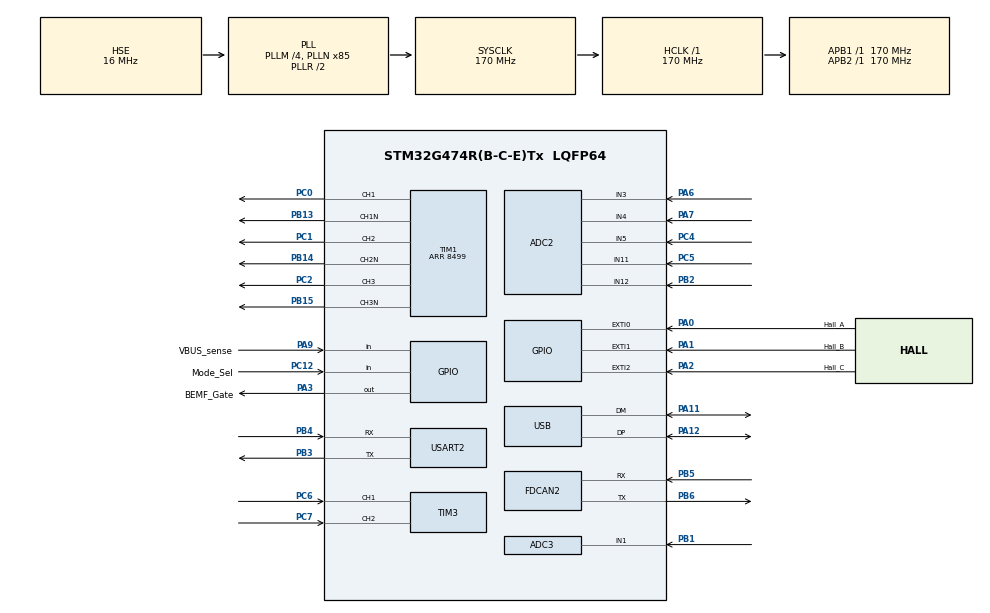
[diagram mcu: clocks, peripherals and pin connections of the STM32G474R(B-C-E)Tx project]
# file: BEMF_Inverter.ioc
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ADC2.Channel-0\#ChannelRegularConversion=ADC_CHANNEL_3
ADC2.Channel-1\#ChannelRegularConversion=ADC_CHANNEL_4
ADC2.Channel-2\#ChannelRegularConversion=ADC_CHANNEL_5
ADC2.Channel-3\#ChannelRegularConversion=ADC_CHANNEL_11
ADC2.DMAContinuousRequests=ENABLE
ADC2.EnableAnalogWatchDog1=false
ADC2.ExternalTrigConv=ADC_EXTERNALTRIG_T6_TRGO
ADC2.NbrOfConversion=4
ADC2.NbrOfConversionFlag=1
ADC2.OffsetNumber-0\#ChannelRegularConversion=ADC_OFFSET_NONE
ADC2.OffsetNumber-1\#ChannelRegularConversion=ADC_OFFSET_NONE
ADC2.OffsetNumber-2\#ChannelRegularConversion=ADC_OFFSET_NONE
ADC2.OffsetNumber-3\#ChannelRegularConversion=ADC_OFFSET_NONE
ADC2.OversamplingMode=ENABLE
ADC2.Rank-0\#ChannelRegularConversion=1
ADC2.Rank-1\#ChannelRegularConversion=2
ADC2.Rank-2\#ChannelRegularConversion=3
ADC2.Rank-3\#ChannelRegularConversion=4
ADC2.Ratio=ADC_OVERSAMPLING_RATIO_4
ADC2.RightBitShift=ADC_RIGHTBITSHIFT_2
ADC2.SamplingTime-0\#ChannelRegularConversion=ADC_SAMPLETIME_2CYCLES_5
ADC2.SamplingTime-1\#ChannelRegularConversion=ADC_SAMPLETIME_2CYCLES_5
ADC2.SamplingTime-2\#ChannelRegularConversion=ADC_SAMPLETIME_2CYCLES_5
ADC2.SamplingTime-3\#ChannelRegularConversion=ADC_SAMPLETIME_2CYCLES_5
ADC2.SingleDiff-3\#ChannelRegularConversion=ADC_DIFFERENTIAL_ENDED
ADC3.Channel-3\#ChannelRegularConversion=ADC_CHANNEL_1
ADC3.NbrOfConversionFlag=1
ADC3.OffsetNumber-3\#ChannelRegularConversion=ADC_OFFSET_NONE
ADC3.Rank-3\#ChannelRegularConversion=1
ADC3.SamplingTime-3\#ChannelRegularConversion=ADC_SAMPLETIME_2CYCLES_5
ADC3.master=1
Dma.ADC2.0.Direction=DMA_PERIPH_TO_MEMORY
Dma.ADC2.0.EventEnable=DISABLE
Dma.ADC2.0.Instance=DMA1_Channel1
Dma.ADC2.0.MemDataAlignment=DMA_MDATAALIGN_HALFWORD
Dma.ADC2.0.MemInc=DMA_MINC_ENABLE
Dma.ADC2.0.Mode=DMA_CIRCULAR
Dma.ADC2.0.PeriphDataAlignment=DMA_PDATAALIGN_HALFWORD
Dma.ADC2.0.PeriphInc=DMA_PINC_DISABLE
Dma.ADC2.0.Polarity=HAL_DMAMUX_REQ_GEN_RISING
Dma.ADC2.0.Priority=DMA_PRIORITY_LOW
Dma.ADC2.0.RequestNumber=1
Dma.ADC2.0.SignalID=NONE
Dma.ADC2.0.SyncEnable=DISABLE
Dma.ADC2.0.SyncPolarity=HAL_DMAMUX_SYNC_NO_EVENT
Dma.ADC2.0.SyncRequestNumber=1
Dma.ADC2.0.SyncSignalID=NONE
Dma.Request0=ADC2
FDCAN2.CalculateBaudRateNominal=3541666
FDCAN2.CalculateTimeBitNominal=282
FDCAN2.CalculateTimeQuantumNominal=94.11764705882354
Mcu.Family=STM32G4
Mcu.Name=STM32G474R(B-C-E)Tx
Mcu.Package=LQFP64
NVIC.DMA1_Channel1_IRQn=true\:0\:0\:false\:false\:true\:false\:true\:true
NVIC.EXTI0_IRQn=true\:0\:0\:false\:false\:true\:true\:true\:true
NVIC.EXTI1_IRQn=true\:0\:0\:false\:false\:true\:true\:true\:true
NVIC.EXTI2_IRQn=true\:0\:0\:false\:false\:true\:true\:true\:true
NVIC.PriorityGroup=NVIC_PRIORITYGROUP_4
NVIC.TIM6_DAC_IRQn=true\:0\:0\:false\:false\:true\:true\:true\:true
NVIC.USB_HP_IRQn=true\:0\:0\:false\:false\:true\:true\:true\:true
NVIC.USB_LP_IRQn=true\:0\:0\:false\:false\:true\:false\:true\:true
PA0.GPIO_Label=Hall_A
PA0.GPIO_ModeDefaultEXTI=GPIO_MODE_IT_RISING_FALLING
PA0.GPIO_PuPd=GPIO_PULLUP
PA0.Signal=GPXTI0
PA1.GPIO_Label=Hall_B
PA1.GPIO_ModeDefaultEXTI=GPIO_MODE_IT_RISING_FALLING
PA1.GPIO_PuPd=GPIO_PULLUP
PA1.Signal=GPXTI1
PA11.Mode=Device
PA11.Signal=USB_DM
PA12.Mode=Device
PA12.Signal=USB_DP
PA13.Mode=Serial_Wire
PA13.Signal=SYS_JTMS-SWDIO
PA14.Mode=Serial_Wire
PA14.Signal=SYS_JTCK-SWCLK
PA2.GPIO_Label=Hall_C
PA2.GPIO_ModeDefaultEXTI=GPIO_MODE_IT_RISING_FALLING
PA2.GPIO_PuPd=GPIO_PULLUP
PA2.Signal=GPXTI2
PA3.GPIO_Label=BEMF_Gate
PA3.GPIO_PuPd=GPIO_PULLDOWN
PA3.Signal=GPIO_Output
PA6.Mode=IN3-Single-Ended
PA6.Signal=ADC2_IN3
PA7.Mode=IN4-Single-Ended
PA7.Signal=ADC2_IN4
PA9.GPIO_Label=VBUS_sense
PA9.Signal=GPIO_Input
PB1.Mode=IN1-Single-Ended
PB1.Signal=ADC3_IN1
PB13.Mode=PWM Generation1 CH1 CH1N
PB13.Signal=TIM1_CH1N
PB14.Mode=PWM Generation2 CH2 CH2N
PB14.Signal=TIM1_CH2N
PB15.Mode=PWM Generation3 CH3 CH3N
PB15.Signal=TIM1_CH3N
PB2.Mode=IN11-Differential
PB2.Signal=ADC2_IN12
PB3.Mode=Asynchronous
PB3.Signal=USART2_TX
PB4.Mode=Asynchronous
PB4.Signal=USART2_RX
PB5.Mode=FDCAN_Activate
PB5.Signal=FDCAN2_RX
PB6.Mode=FDCAN_Activate
PB6.Signal=FDCAN2_TX
PC0.Signal=S_TIM1_CH1
PC1.Signal=S_TIM1_CH2
PC12.GPIO_Label=Mode_Sel
PC12.GPIO_PuPd=GPIO_PULLDOWN
PC12.Signal=GPIO_Input
PC2.Signal=S_TIM1_CH3
PC4.Mode=IN5-Single-Ended
PC4.Signal=ADC2_IN5
PC5.Mode=IN11-Differential
PC5.Signal=ADC2_IN11
PC6.Signal=S_TIM3_CH1
PC7.Signal=S_TIM3_CH2
PF0-OSC_IN.Mode=HSE-External-Oscillator
PF0-OSC_IN.Signal=RCC_OSC_IN
PF1-OSC_OUT.Mode=HSE-External-Oscillator
PF1-OSC_OUT.Signal=RCC_OSC_OUT
ProjectManager.HeapSize=0x200
ProjectManager.StackSize=0x400
ProjectManager.TargetToolchain=STM32CubeIDE
RCC.ADC12Freq_Value=170000000
RCC.ADC345Freq_Value=170000000
RCC.AHBFreq_Value=170000000
RCC.APB1Freq_Value=170000000
RCC.APB1TimFreq_Value=170000000
RCC.APB2Freq_Value=170000000
RCC.APB2TimFreq_Value=170000000
RCC.CK48CLockSelection=RCC_USBCLKSOURCE_HSI48
RCC.CortexFreq_Value=170000000
RCC.EXTERNAL_CLOCK_VALUE=12288000
RCC.EnbaleCSS=true
RCC.HCLKFreq_Value=170000000
RCC.HSE_VALUE=16000000
RCC.HSI48_VALUE=48000000
RCC.HSI_VALUE=16000000
RCC.LSE_VALUE=32768
RCC.PLLM=RCC_PLLM_DIV4
RCC.PLLN=85
RCC.PLLQ=RCC_PLLQ_DIV8
RCC.PLLSourceVirtual=RCC_PLLSOURCE_HSE
RCC.SYSCLKFreq_VALUE=170000000
RCC.SYSCLKSource=RCC_SYSCLKSOURCE_PLLCLK
RCC.USBFreq_Value=48000000
RCC.VCOOutputFreq_Value=340000000
SH.S_TIM1_CH1.0=TIM1_CH1,PWM Generation1 CH1 CH1N
SH.S_TIM1_CH2.0=TIM1_CH2,PWM Generation2 CH2 CH2N
SH.S_TIM1_CH3.0=TIM1_CH3,PWM Generation3 CH3 CH3N
SH.S_TIM3_CH1.0=TIM3_CH1,Encoder_Interface
SH.S_TIM3_CH2.0=TIM3_CH2,Encoder_Interface
TIM1.Channel-PWM\ Generation1\ CH1\ CH1N=TIM_CHANNEL_1
TIM1.Channel-PWM\ Generation2\ CH2\ CH2N=TIM_CHANNEL_2
TIM1.Channel-PWM\ Generation3\ CH3\ CH3N=TIM_CHANNEL_3
TIM1.DeadTime=150
TIM1.PeriodNoDither=8499
TIM6.PeriodNoDither=1699
TIM6.TIM_MasterOutputTrigger=TIM_TRGO_UPDATE
USART2.VirtualMode-Asynchronous=VM_ASYNC
USB_DEVICE.APP_RX_DATA_SIZE=128
USB_DEVICE.APP_TX_DATA_SIZE=128
USB_DEVICE.CLASS_NAME_FS=CDC
USB_DEVICE.VirtualMode=Cdc
USB_DEVICE.VirtualModeFS=Cdc_FS
VP_SYS_VS_DBSignals.Mode=DisableDeadBatterySignals
VP_TIM6_VS_ClockSourceINT.Mode=Enable_Timer
VP_USB_DEVICE_VS_USB_DEVICE_CDC_FS.Mode=CDC_FS
board=custom

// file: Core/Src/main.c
/* USER CODE BEGIN Header */
/**
  ******************************************************************************
  * @file           : main.c
  * @brief          : Main program body
  ******************************************************************************
  * @attention
  *
  * Copyright (c) 2025 STMicroelectronics.
  * All rights reserved.
  *
  * This software is licensed under terms that can be found in the LICENSE file
  * in the root directory of this software component.
  * If no LICENSE file comes with this software, it is provided AS-IS.
  *
  ******************************************************************************
  */
/* USER CODE END Header */
#include "main.h"
#include "usb_device.h"

/* USER CODE BEGIN Includes */
#include <string.h>
#include "usbd_cdc_if.h"
#include <math.h>
/* USER CODE END Includes */

/* USER CODE BEGIN PTD */
typedef enum {
    MODE_6STEP = 0,
    MODE_FOC
} OperationMode;

typedef enum {
    STEP_INIT = 0,
    STEP_SET_0POS,
    STEP_CURRENT_CONTROL,
    STEP_VELOCITY_CONTROL,
    STEP_POSITION_CONTROL,
    FOC_INIT,
    FOC_CURRENT_CONTROL,
    FOC_VELOCITY_CONTROL,
} ControlMode;

// 명령어 처리 함수 타입
typedef void (*CommandHandler)(char* args);

// 명령어 구조체
typedef struct {
    const char* command;
    CommandHandler handler;
} CommandEntry;
/* USER CODE END PTD */

ADC_HandleTypeDef hadc2;
ADC_HandleTypeDef hadc3;
DMA_HandleTypeDef hdma_adc2;

FDCAN_HandleTypeDef hfdcan2;

TIM_HandleTypeDef htim1;
TIM_HandleTypeDef htim3;
TIM_HandleTypeDef htim6;

UART_HandleTypeDef huart2;

/* USER CODE BEGIN PV */
// 현재 운영 모드
volatile OperationMode currentMode = MODE_6STEP;
volatile ControlMode controlState = STEP_INIT;

// 6-step에서 0 위치 잡을 때 넣을 PWM duty
volatile double zeroPosDutyCycle = 0.03;

// 6-step에서 0 위치 잡을 때 걸리는 한 틱(ms)
volatile uint32_t zeroPosTick = 100;

// 6-step에서 0 위치 잡을 때 쓰는 타이머
volatile uint32_t zeroPosTimer = 0;

// 플래그
volatile uint8_t zeroPosFlag = 0;

// 목표 듀티 사이클
volatile double targetDutyCycle = 0.0;

// 듀티 만들 때 필요한 ARR
uint32_t timerARR = 0;

// 홀센서 상태
volatile uint8_t hallbit = 0;

// 홀비트에 따른 섹터 인덱스
const uint8_t hallToSector[8] = {
    0xFF, // 000 - 무효
    4,    // 001
    2,    // 010
    3,    // 011
    0,    // 100
    5,    // 101
    1,    // 110
    0xFF  // 111 - 무효
};

// 6-step에서 섹터에 따른 인버터 위상 매핑 테이블
const uint8_t cwLUT[8] = {
    0b100,
    0b110,
    0b010,
    0b011,
    0b001,
    0b101,
    0,
    0
};

const uint8_t ccwLUT[8] = {
    0b001,
    0b101,
    0b100,
    0b110,
    0b010,
    0b011,
    0,
    0
};

// 위치
volatile uint8_t position = 0;
volatile uint8_t prevPosition = 0;

volatile int8_t rotationDirection = 0; // 1 = CW, -1 = CCW, 0 = 정지/무효

// 속도제어
volatile uint32_t lastPositionUpdateTime = 0;
volatile double speedRPM = 0.0;

volatile uint32_t rpmTimeout = 100; // ms

volatile double desiredSpeedRPM = 0.0;

volatile double kp_speed = 0.001;
volatile double ki_speed = 0.0001;

double speedIntegral = 0.0;
volatile uint32_t lastIntegralUpdateTime = 0;
uint16_t integraldt = 10; // ms

double integralLimit = 100.0;

// 위치제어
volatile int32_t desiredStep = 0;
volatile uint8_t lastStepPosition = 0;

// 방향 설정
volatile uint8_t isCCW = 0;

// 센서
uint16_t adc2Buffer[8]; // ADC2용 버퍼 (A,B,C상 전류 + Vdc)

// USB 통신
extern uint8_t UserRxBufferFS[APP_RX_DATA_SIZE];
uint8_t usbRx[APP_RX_DATA_SIZE] = {0};
uint8_t receiveFlag = 0;

// 디버그용
volatile uint32_t debugVar1 = 0;
/* USER CODE END PV */

void SystemClock_Config(void);
static void MX_GPIO_Init(void);
static void MX_DMA_Init(void);
static void MX_FDCAN2_Init(void);
static void MX_ADC2_Init(void);
static void MX_TIM1_Init(void);
static void MX_TIM3_Init(void);
static void MX_USART2_UART_Init(void);
static void MX_ADC3_Init(void);
static void MX_TIM6_Init(void);
/* USER CODE BEGIN PFP */
// USB 명령어 처리 함수
void ProcessUSBCommand(void);
void ParseCommand(char* cmdStr);

// 개별 명령어 핸들러
void CMD_SetMode(char* args);
void CMD_SetDuty(char* args);
void CMD_SetSpeed(char* args);
void CMD_SetDirection(char* args);
void CMD_SetZeroPos(char* args);
void CMD_SetParam(char* args);
void CMD_GetVI(char* args);
/* USER CODE END PFP */

/* USER CODE BEGIN 0 */
// adc값->mV
static inline int32_t Code_to_VmV(uint16_t code) {
    float v_bus = ((float) code - 2048.0) * 3.3f * 40.0f / 2047.0f;
    int32_t mV = (int32_t)(v_bus * 1000.0f + 0.5f);
    if (mV < 0) mV = 0;
    return mV;
}

// adc값->mA
static inline int32_t Code_to_ImA(uint16_t code) {
    float i = (float) code * 3.3f / 4095.0f;
    float I = (i - 1.65f) / 0.066f;
    return (int32_t) (I * 1000.0f);
}

int8_t USB_Log(const char* msg) {
    uint16_t len = strlen(msg);
    if (len > 0) {
        uint8_t result;
        uint8_t retries = 0;

        // Retry logic for USBD_BUSY
        do {
            result = CDC_Transmit_FS((uint8_t*)msg, len);
            if (result == USBD_OK) {
                return 0; // Success
            } else if (result == USBD_BUSY) {
                retries++;
            } else {
                return -1; // Other error
            }
        } while (result == USBD_BUSY && retries < 100);

        return -1; // Failed after retries
    }
    return -2; // Invalid length
}

int8_t USB_LogLn(const char* msg) {
    int8_t res = USB_Log(msg);
    if (res == 0) {
//        HAL_Delay(10); // Small delay between transmissions
        return USB_Log("\r\n");
    }
    return res;
}

void USB_ArrayCopy() {
    strcpy((char*) usbRx, (char*) UserRxBufferFS);
    memset(UserRxBufferFS, 0, APP_TX_DATA_SIZE);
    receiveFlag = 1;
}

// ===== USB 명령어 처리 시스템 =====

// 명령어 테이블 (확장 시 여기에 추가)
const CommandEntry commandTable[] = {
    {"setmode", CMD_SetMode},
    {"setduty", CMD_SetDuty},
    {"setspeed", CMD_SetSpeed},
    {"setdir", CMD_SetDirection},
    {"setzero", CMD_SetZeroPos},
    {"setparam", CMD_SetParam},
    {"getvi", CMD_GetVI},
};

const uint32_t commandTableSize = sizeof(commandTable) / sizeof(CommandEntry);

// 명령어 파싱 함수
void ParseCommand(char* cmdStr) {
    // 공백/개행 제거
    char* end = cmdStr + strlen(cmdStr) - 1;
    while(end > cmdStr && (*end == ' ' || *end == '\r' || *end == '\n' || *end == '\t')) {
        *end = '\0';
        end--;
    }

    // 첫 번째 띄어쓰기 찾기 (명령어와 인자 구분)
    char* spacePos = strchr(cmdStr, ' ');
    char* args = NULL;

    if (spacePos != NULL) {
        *spacePos = '\0';  // 명령어 문자열 종료
        args = spacePos + 1;  // 인자 시작 위치

        // 인자 앞쪽 공백 제거
        while (*args == ' ' || *args == '\t') {
            args++;
        }
    }

    // 명령어 테이블에서 검색
    for (uint32_t i = 0; i < commandTableSize; i++) {
        if (strcmp(cmdStr, commandTable[i].command) == 0) {
            commandTable[i].handler(args);
            return;
        }
    }

    // 명령어를 찾지 못한 경우
    USB_Log("Unknown command: ");
    USB_LogLn(cmdStr);
}

// USB 명령어 처리 메인 함수
void ProcessUSBCommand(void) {
    ParseCommand((char*)usbRx);
    memset(usbRx, 0, APP_RX_DATA_SIZE);
    receiveFlag = 0;
}

// ===== 명령어 핸들러 구현 =====

void CMD_SetMode(char* args) {
    if (args == NULL) {
        USB_LogLn("Error: setmode requires argument");
        return;
    }

    if (strcmp(args, "current") == 0) {
        controlState = STEP_CURRENT_CONTROL;
        USB_LogLn("Mode set to CURRENT_CONTROL");
    }
    else if (strcmp(args, "velocity") == 0) {
        controlState = STEP_VELOCITY_CONTROL;
        speedIntegral = 0.0;  // 적분 리셋
        desiredSpeedRPM = 0.0;
        USB_LogLn("Mode set to VELOCITY_CONTROL");
    }
    else if (strcmp(args, "position") == 0) {
        controlState = STEP_POSITION_CONTROL;
        USB_LogLn("Mode set to POSITION_CONTROL");
    }
    else if (strcmp(args, "init") == 0) {
        controlState = STEP_INIT;
        targetDutyCycle = 0.0;
        USB_LogLn("Mode set to INIT");
    }
    else {
        USB_Log("Error: Unknown mode '");
        USB_Log(args);
        USB_LogLn("'");
    }
}

void CMD_SetDuty(char* args) {
    if (args == NULL) {
        USB_LogLn("Error: setduty requires argument");
        return;
    }

    double duty = atof(args);

    if (duty >= 0.0 && duty <= 1.0) {
        targetDutyCycle = duty;
        char msg[64];
        snprintf(msg, sizeof(msg), "Duty cycle set to %.3f", duty);
        USB_LogLn(msg);
    }
    else {
        USB_LogLn("Error: Duty must be between 0.0 and 1.0");
    }
}

void CMD_SetSpeed(char* args) {
    if (args == NULL) {
        USB_LogLn("Error: setspeed requires argument");
        return;
    }

    double speed = atof(args);
    desiredSpeedRPM = speed;

    char msg[64];
    snprintf(msg, sizeof(msg), "Target speed set to %.1f RPM", speed);
    USB_LogLn(msg);
}

void CMD_SetDirection(char* args) {
    if (args == NULL) {
        USB_LogLn("Error: setdir requires argument");
        return;
    }

    if (strcmp(args, "cw") == 0) {
        isCCW = 0;
        USB_LogLn("Direction set to CW");
    }
    else if (strcmp(args, "ccw") == 0) {
        isCCW = 1;
        USB_LogLn("Direction set to CCW");
    }
    else {
        USB_LogLn("Error: Direction must be cw or ccw");
    }
}

void CMD_SetZeroPos(char* args) {
    zeroPosFlag = 1;
    USB_LogLn("Zero position routine triggered");
}

void CMD_SetParam(char* args) {
    if (args == NULL) {
        USB_LogLn("Error: setparam requires parameter name and value");
        return;
    }

    // 첫 번째 공백으로 파라미터 이름과 값 분리
    char* spacePos = strchr(args, ' ');
    if (spacePos == NULL) {
        USB_LogLn("Error: setparam requires parameter name and value");
        return;
    }

    *spacePos = '\0';  // 파라미터 이름 문자열 종료
    char* paramName = args;
    char* paramValue = spacePos + 1;

    // 값 앞의 공백 제거
    while (*paramValue == ' ' || *paramValue == '\t') {
        paramValue++;
    }

    // 파라미터 이름에 따라 처리
    if (strcmp(paramName, "duty") == 0) {
        double duty = atof(paramValue);
        if (duty >= 0.0 && duty <= 1.0) {
            targetDutyCycle = duty;
            char msg[64];
            snprintf(msg, sizeof(msg), "duty set to %.3f", duty);
            USB_LogLn(msg);
        } else {
            USB_LogLn("Error: duty must be between 0.0 and 1.0");
        }
    }
    else if (strcmp(paramName, "speed") == 0) {
        double speed = atof(paramValue);
        desiredSpeedRPM = speed;
        char msg[64];
        snprintf(msg, sizeof(msg), "speed set to %.1f RPM", speed);
        USB_LogLn(msg);
    }
    else if (strcmp(paramName, "kp_speed") == 0) {
        kp_speed = atof(paramValue);
        char msg[64];
        snprintf(msg, sizeof(msg), "kp_speed set to %.6f", kp_speed);
        USB_LogLn(msg);
    }
    else if (strcmp(paramName, "ki_speed") == 0) {
        ki_speed = atof(paramValue);
        char msg[64];
        snprintf(msg, sizeof(msg), "ki_speed set to %.6f", ki_speed);
        USB_LogLn(msg);
    }
    else if (strcmp(paramName, "zeroduty") == 0) {
        zeroPosDutyCycle = atof(paramValue);
        char msg[64];
        snprintf(msg, sizeof(msg), "zeroduty set to %.3f", zeroPosDutyCycle);
        USB_LogLn(msg);
    }
    else if (strcmp(paramName, "zerotick") == 0) {
        zeroPosTick = (uint32_t)atoi(paramValue);
        char msg[64];
        snprintf(msg, sizeof(msg), "zerotick set to %lu ms", (unsigned long)zeroPosTick);
        USB_LogLn(msg);
    }
    else {
        USB_Log("Error: Unknown parameter '");
        USB_Log(paramName);
        USB_LogLn("'");
    }
}

void CMD_GetVI(char* args) {
    // 전압과 전류 읽기
    int16_t ia_code = (int16_t)adc2Buffer[0]; // A상 전류
    int16_t ib_code = (int16_t)adc2Buffer[1]; // B상 전류
    int16_t ic_code = (int16_t)adc2Buffer[2]; // C상 전류
    uint16_t vdc_code = adc2Buffer[3]; // Vdc

    if ((args == NULL) || (strcmp(args, "refined") == 0)) {
        // 물리량 환산
        int32_t ia_mA = Code_to_ImA(ia_code);
        int32_t ib_mA = Code_to_ImA(ib_code);
        int32_t ic_mA = Code_to_ImA(ic_code);
        int32_t vdc_mV = Code_to_VmV(vdc_code);

        char msg[128];
        snprintf(msg, sizeof(msg), "Ia:%ld/Ib:%ld/Ic:%ld/Vdc:%ld",
                 (long)ia_mA, (long)ib_mA, (long)ic_mA, (long)vdc_mV);
        USB_LogLn(msg);
        return;
    }

    if (strcmp(args, "raw") == 0) {
        char msg[128];
        snprintf(msg, sizeof(msg), "Ia:%d/Ib:%d/Ic:%d/Vdc:%d", ia_code, ib_code, ic_code, vdc_code);
        USB_LogLn(msg);
    }
}

/* USER CODE END 0 */

int main(void)
{

  /* MCU Configuration--------------------------------------------------------*/

  /* Reset of all peripherals, Initializes the Flash interface and the Systick. */
  HAL_Init();

  /* Configure the system clock */
  SystemClock_Config();

  /* Initialize all configured peripherals */
  MX_GPIO_Init();
  MX_DMA_Init();
  MX_FDCAN2_Init();
  MX_ADC2_Init();
  MX_TIM1_Init();
  MX_TIM3_Init();
  MX_USART2_UART_Init();
  MX_ADC3_Init();
  MX_TIM6_Init();
  MX_USB_Device_Init();
  /* USER CODE BEGIN 2 */
  // ARR 값 불러오기
  timerARR = htim1.Init.Period;

  // PWM 시작
  HAL_TIM_PWM_Start(&htim1, TIM_CHANNEL_1);
  HAL_TIM_PWM_Start(&htim1, TIM_CHANNEL_2);
  HAL_TIM_PWM_Start(&htim1, TIM_CHANNEL_3);
  HAL_TIMEx_PWMN_Start(&htim1, TIM_CHANNEL_1);
  HAL_TIMEx_PWMN_Start(&htim1, TIM_CHANNEL_2);
  HAL_TIMEx_PWMN_Start(&htim1, TIM_CHANNEL_3);

  // ADC2 DMA 시작
  HAL_TIM_Base_Start(&htim6);
  HAL_ADC_Start_DMA(&hadc2, (uint32_t*)adc2Buffer, 8);

  // 운영 모드 선택
  // Mode_Sel 핀이 HIGH이면 FOC 모드
  if (HAL_GPIO_ReadPin(Mode_Sel_GPIO_Port, Mode_Sel_Pin) == GPIO_PIN_SET) {
      currentMode = MODE_FOC;
      controlState = FOC_INIT;
      USB_LogLn("Operating Mode: FOC");
  }

  // 그렇지 않으면 6-STEP 모드
  else {

      currentMode = MODE_6STEP;
      controlState = STEP_INIT;
      USB_LogLn("Operating Mode: 6-STEP");
  }
  /* USER CODE END 2 */

  /* Infinite loop */
  /* USER CODE BEGIN WHILE */
  while (1)
  {
      // USB 명령 처리
      if (receiveFlag) {
          ProcessUSBCommand();
      }

      // 속도 타임아웃 체크 (인터럽트가 일정 시간 없으면 속도 0으로)
      uint32_t currentTime = HAL_GetTick();
      if (currentTime - lastPositionUpdateTime > rpmTimeout) {
          speedRPM = 0.0;
      }

      if (zeroPosFlag) {
          controlState = STEP_SET_0POS;
          zeroPosTimer = HAL_GetTick();
          zeroPosFlag = 0;
          targetDutyCycle = 0.0;
      }
      // 6-STEP motor control logic
      if (currentMode == MODE_6STEP) {
          if (controlState == STEP_INIT) {
              __HAL_TIM_SET_COMPARE(&htim1, TIM_CHANNEL_1, 0);
              __HAL_TIM_SET_COMPARE(&htim1, TIM_CHANNEL_2, 0);
              __HAL_TIM_SET_COMPARE(&htim1, TIM_CHANNEL_3, 0);
          }

          else if (controlState == STEP_SET_0POS) {
              uint8_t currentProgress = (HAL_GetTick() - zeroPosTimer) / zeroPosTick;
              if (currentProgress <= 5) {
                  // 홀비트로 위상 매핑
                  uint8_t phase = cwLUT[currentProgress];
                  // 듀티 사이클 설정
                  uint32_t dutyCycle = (uint32_t)(zeroPosDutyCycle * timerARR);
                  // PWM 출력 설정
                  __HAL_TIM_SET_COMPARE(&htim1, TIM_CHANNEL_1, (phase & 0b100) ? dutyCycle : 0);
                  __HAL_TIM_SET_COMPARE(&htim1, TIM_CHANNEL_2, (phase & 0b010) ? dutyCycle : 0);
                  __HAL_TIM_SET_COMPARE(&htim1, TIM_CHANNEL_3, (phase & 0b001) ? dutyCycle : 0);
              }

              else {
                  USB_LogLn("Zero position routine done");
                  USB_LogLn("Mode set to INIT");
                  controlState = STEP_INIT;
              }
          }

          else if (controlState == STEP_CURRENT_CONTROL) {
              // 홀비트로 위상 매핑
              uint8_t phase = isCCW ? ccwLUT[position] : cwLUT[position];
              // 듀티 사이클 설정
              uint32_t dutyCycle = (uint32_t)(targetDutyCycle * timerARR);
              // PWM 출력 설정
              __HAL_TIM_SET_COMPARE(&htim1, TIM_CHANNEL_1, (phase & 0b100) ? dutyCycle : 0);
              __HAL_TIM_SET_COMPARE(&htim1, TIM_CHANNEL_2, (phase & 0b010) ? dutyCycle : 0);
              __HAL_TIM_SET_COMPARE(&htim1, TIM_CHANNEL_3, (phase & 0b001) ? dutyCycle : 0);
          }

          else if (controlState == STEP_VELOCITY_CONTROL) {
              // speedRPM 변수에 대한 PI 제어
              // 에러 계산 (항상 양수 기준)
              double error = desiredSpeedRPM - speedRPM;

              // I 제어
              // 적분
              uint32_t now = HAL_GetTick();
              if (now - lastIntegralUpdateTime >= integraldt) {
                  speedIntegral += error * (now - lastIntegralUpdateTime) / 1000;
                  // 적분 제한
                  if (speedIntegral > integralLimit) {
                      speedIntegral = integralLimit;
                  }
                  else if (speedIntegral < -integralLimit) {
                      speedIntegral = -integralLimit;
                  }
                  lastIntegralUpdateTime = now;
              }

              // P 제어
              double controlOutput = kp_speed * error + ki_speed * speedIntegral;;

              // 선형 보상 추가(때려맞춤)
              targetDutyCycle = tanh(0.00065 * desiredSpeedRPM) + controlOutput;

              // 위험하니 클램핑
              if (targetDutyCycle > 0.15) {
                  targetDutyCycle = 0.15;
              }
              else if (targetDutyCycle < 0.0) {
                  targetDutyCycle = 0.0;
              }

              // 홀비트로 위상 매핑
              uint8_t phase = isCCW ? ccwLUT[position] : cwLUT[position];
              // 듀티 사이클 설정
              uint32_t dutyCycle = (uint32_t)(targetDutyCycle * timerARR);
              // PWM 출력 설정
              __HAL_TIM_SET_COMPARE(&htim1, TIM_CHANNEL_1, (phase & 0b100) ? dutyCycle : 0);
              __HAL_TIM_SET_COMPARE(&htim1, TIM_CHANNEL_2, (phase & 0b010) ? dutyCycle : 0);
              __HAL_TIM_SET_COMPARE(&htim1, TIM_CHANNEL_3, (phase & 0b001) ? dutyCycle : 0);
          }

          else if (controlState == STEP_POSITION_CONTROL) {
              if (desiredStep != 0) {
                  isCCW = ((desiredStep < 0) ? 1 : 0);

                  uint8_t phase = isCCW ? ccwLUT[position] : cwLUT[position];
                  uint32_t dutyCycle = (uint32_t)(targetDutyCycle * timerARR);

                  __HAL_TIM_SET_COMPARE(&htim1, TIM_CHANNEL_1, (phase & 0b100) ? dutyCycle : 0);
                  __HAL_TIM_SET_COMPARE(&htim1, TIM_CHANNEL_2, (phase & 0b010) ? dutyCycle : 0);
                  __HAL_TIM_SET_COMPARE(&htim1, TIM_CHANNEL_3, (phase & 0b001) ? dutyCycle : 0);

                  if (position != lastStepPosition) {
                      desiredStep += (isCCW ? 1 : -1);
                      lastStepPosition = position;
                  }
              }

              else {
                  lastStepPosition = position;
                  __HAL_TIM_SET_COMPARE(&htim1, TIM_CHANNEL_1, 0);
                  __HAL_TIM_SET_COMPARE(&htim1, TIM_CHANNEL_2, 0);
                  __HAL_TIM_SET_COMPARE(&htim1, TIM_CHANNEL_3, 0);
              }
          }
      }

      // FOC motor control logic
      else if (currentMode == MODE_FOC) {

      }

    /* USER CODE END WHILE */

  }
}

void SystemClock_Config(void)
{
  RCC_OscInitTypeDef RCC_OscInitStruct = {0};
  RCC_ClkInitTypeDef RCC_ClkInitStruct = {0};

  /** Configure the main internal regulator output voltage
  */
  HAL_PWREx_ControlVoltageScaling(PWR_REGULATOR_VOLTAGE_SCALE1_BOOST);

  /** Initializes the RCC Oscillators according to the specified parameters
  * in the RCC_OscInitTypeDef structure.
  */
  RCC_OscInitStruct.OscillatorType = RCC_OSCILLATORTYPE_HSI48|RCC_OSCILLATORTYPE_HSE;
  RCC_OscInitStruct.HSEState = RCC_HSE_ON;
  RCC_OscInitStruct.HSI48State = RCC_HSI48_ON;
  RCC_OscInitStruct.PLL.PLLState = RCC_PLL_ON;
  RCC_OscInitStruct.PLL.PLLSource = RCC_PLLSOURCE_HSE;
  RCC_OscInitStruct.PLL.PLLM = RCC_PLLM_DIV4;
  RCC_OscInitStruct.PLL.PLLN = 85;
  RCC_OscInitStruct.PLL.PLLP = RCC_PLLP_DIV2;
  RCC_OscInitStruct.PLL.PLLQ = RCC_PLLQ_DIV8;
  RCC_OscInitStruct.PLL.PLLR = RCC_PLLR_DIV2;
  if (HAL_RCC_OscConfig(&RCC_OscInitStruct) != HAL_OK)
  {
    Error_Handler();
  }

  /** Initializes the CPU, AHB and APB buses clocks
  */
  RCC_ClkInitStruct.ClockType = RCC_CLOCKTYPE_HCLK|RCC_CLOCKTYPE_SYSCLK
                              |RCC_CLOCKTYPE_PCLK1|RCC_CLOCKTYPE_PCLK2;
  RCC_ClkInitStruct.SYSCLKSource = RCC_SYSCLKSOURCE_PLLCLK;
  RCC_ClkInitStruct.AHBCLKDivider = RCC_SYSCLK_DIV1;
  RCC_ClkInitStruct.APB1CLKDivider = RCC_HCLK_DIV1;
  RCC_ClkInitStruct.APB2CLKDivider = RCC_HCLK_DIV1;

  if (HAL_RCC_ClockConfig(&RCC_ClkInitStruct, FLASH_LATENCY_4) != HAL_OK)
  {
    Error_Handler();
  }

  /** Enables the Clock Security System
  */
  HAL_RCC_EnableCSS();
}

static void MX_ADC2_Init(void)
{

  ADC_ChannelConfTypeDef sConfig = {0};

  /** Common config
  */
  hadc2.Instance = ADC2;
  hadc2.Init.ClockPrescaler = ADC_CLOCK_SYNC_PCLK_DIV4;
  hadc2.Init.Resolution = ADC_RESOLUTION_12B;
  hadc2.Init.DataAlign = ADC_DATAALIGN_RIGHT;
  hadc2.Init.GainCompensation = 0;
  hadc2.Init.ScanConvMode = ADC_SCAN_ENABLE;
  hadc2.Init.EOCSelection = ADC_EOC_SINGLE_CONV;
  hadc2.Init.LowPowerAutoWait = DISABLE;
  hadc2.Init.ContinuousConvMode = DISABLE;
  hadc2.Init.NbrOfConversion = 4;
  hadc2.Init.DiscontinuousConvMode = DISABLE;
  hadc2.Init.ExternalTrigConv = ADC_EXTERNALTRIG_T6_TRGO;
  hadc2.Init.ExternalTrigConvEdge = ADC_EXTERNALTRIGCONVEDGE_RISING;
  hadc2.Init.DMAContinuousRequests = ENABLE;
  hadc2.Init.Overrun = ADC_OVR_DATA_PRESERVED;
  hadc2.Init.OversamplingMode = ENABLE;
  hadc2.Init.Oversampling.Ratio = ADC_OVERSAMPLING_RATIO_4;
  hadc2.Init.Oversampling.RightBitShift = ADC_RIGHTBITSHIFT_2;
  hadc2.Init.Oversampling.TriggeredMode = ADC_TRIGGEREDMODE_SINGLE_TRIGGER;
  hadc2.Init.Oversampling.OversamplingStopReset = ADC_REGOVERSAMPLING_CONTINUED_MODE;
  if (HAL_ADC_Init(&hadc2) != HAL_OK)
  {
    Error_Handler();
  }

  /** Configure Regular Channel
  */
  sConfig.Channel = ADC_CHANNEL_3;
  sConfig.Rank = ADC_REGULAR_RANK_1;
  sConfig.SamplingTime = ADC_SAMPLETIME_2CYCLES_5;
  sConfig.SingleDiff = ADC_SINGLE_ENDED;
  sConfig.OffsetNumber = ADC_OFFSET_NONE;
  sConfig.Offset = 0;
  if (HAL_ADC_ConfigChannel(&hadc2, &sConfig) != HAL_OK)
  {
    Error_Handler();
  }

  /** Configure Regular Channel
  */
  sConfig.Channel = ADC_CHANNEL_4;
  sConfig.Rank = ADC_REGULAR_RANK_2;
  if (HAL_ADC_ConfigChannel(&hadc2, &sConfig) != HAL_OK)
  {
    Error_Handler();
  }

  /** Configure Regular Channel
  */
  sConfig.Channel = ADC_CHANNEL_5;
  sConfig.Rank = ADC_REGULAR_RANK_3;
  if (HAL_ADC_ConfigChannel(&hadc2, &sConfig) != HAL_OK)
  {
    Error_Handler();
  }

  /** Configure Regular Channel
  */
  sConfig.Channel = ADC_CHANNEL_11;
  sConfig.Rank = ADC_REGULAR_RANK_4;
  sConfig.SingleDiff = ADC_DIFFERENTIAL_ENDED;
  if (HAL_ADC_ConfigChannel(&hadc2, &sConfig) != HAL_OK)
  {
    Error_Handler();
  }

}

static void MX_ADC3_Init(void)
{

  ADC_MultiModeTypeDef multimode = {0};
  ADC_ChannelConfTypeDef sConfig = {0};

  /** Common config
  */
  hadc3.Instance = ADC3;
  hadc3.Init.ClockPrescaler = ADC_CLOCK_SYNC_PCLK_DIV4;
  hadc3.Init.Resolution = ADC_RESOLUTION_12B;
  hadc3.Init.DataAlign = ADC_DATAALIGN_RIGHT;
  hadc3.Init.GainCompensation = 0;
  hadc3.Init.ScanConvMode = ADC_SCAN_DISABLE;
  hadc3.Init.EOCSelection = ADC_EOC_SINGLE_CONV;
  hadc3.Init.LowPowerAutoWait = DISABLE;
  hadc3.Init.ContinuousConvMode = DISABLE;
  hadc3.Init.NbrOfConversion = 1;
  hadc3.Init.DiscontinuousConvMode = DISABLE;
  hadc3.Init.ExternalTrigConv = ADC_SOFTWARE_START;
  hadc3.Init.ExternalTrigConvEdge = ADC_EXTERNALTRIGCONVEDGE_NONE;
  hadc3.Init.DMAContinuousRequests = DISABLE;
  hadc3.Init.Overrun = ADC_OVR_DATA_PRESERVED;
  hadc3.Init.OversamplingMode = DISABLE;
  if (HAL_ADC_Init(&hadc3) != HAL_OK)
  {
    Error_Handler();
  }

  /** Configure the ADC multi-mode
  */
  multimode.Mode = ADC_MODE_INDEPENDENT;
  if (HAL_ADCEx_MultiModeConfigChannel(&hadc3, &multimode) != HAL_OK)
  {
    Error_Handler();
  }

  /** Configure Regular Channel
  */
  sConfig.Channel = ADC_CHANNEL_1;
  sConfig.Rank = ADC_REGULAR_RANK_1;
  sConfig.SamplingTime = ADC_SAMPLETIME_2CYCLES_5;
  sConfig.SingleDiff = ADC_SINGLE_ENDED;
  sConfig.OffsetNumber = ADC_OFFSET_NONE;
  sConfig.Offset = 0;
  if (HAL_ADC_ConfigChannel(&hadc3, &sConfig) != HAL_OK)
  {
    Error_Handler();
  }

}

static void MX_FDCAN2_Init(void)
{

  hfdcan2.Instance = FDCAN2;
  hfdcan2.Init.ClockDivider = FDCAN_CLOCK_DIV1;
  hfdcan2.Init.FrameFormat = FDCAN_FRAME_CLASSIC;
  hfdcan2.Init.Mode = FDCAN_MODE_NORMAL;
  hfdcan2.Init.AutoRetransmission = DISABLE;
  hfdcan2.Init.TransmitPause = DISABLE;
  hfdcan2.Init.ProtocolException = DISABLE;
  hfdcan2.Init.NominalPrescaler = 16;
  hfdcan2.Init.NominalSyncJumpWidth = 1;
  hfdcan2.Init.NominalTimeSeg1 = 1;
  hfdcan2.Init.NominalTimeSeg2 = 1;
  hfdcan2.Init.DataPrescaler = 1;
  hfdcan2.Init.DataSyncJumpWidth = 1;
  hfdcan2.Init.DataTimeSeg1 = 1;
  hfdcan2.Init.DataTimeSeg2 = 1;
  hfdcan2.Init.StdFiltersNbr = 0;
  hfdcan2.Init.ExtFiltersNbr = 0;
  hfdcan2.Init.TxFifoQueueMode = FDCAN_TX_FIFO_OPERATION;
  if (HAL_FDCAN_Init(&hfdcan2) != HAL_OK)
  {
    Error_Handler();
  }

}

static void MX_TIM1_Init(void)
{

  TIM_MasterConfigTypeDef sMasterConfig = {0};
  TIM_OC_InitTypeDef sConfigOC = {0};
  TIM_BreakDeadTimeConfigTypeDef sBreakDeadTimeConfig = {0};

  htim1.Instance = TIM1;
  htim1.Init.Prescaler = 0;
  htim1.Init.CounterMode = TIM_COUNTERMODE_UP;
  htim1.Init.Period = 8499;
  htim1.Init.ClockDivision = TIM_CLOCKDIVISION_DIV1;
  htim1.Init.RepetitionCounter = 0;
  htim1.Init.AutoReloadPreload = TIM_AUTORELOAD_PRELOAD_DISABLE;
  if (HAL_TIM_PWM_Init(&htim1) != HAL_OK)
  {
    Error_Handler();
  }
  sMasterConfig.MasterOutputTrigger = TIM_TRGO_RESET;
  sMasterConfig.MasterOutputTrigger2 = TIM_TRGO2_RESET;
  sMasterConfig.MasterSlaveMode = TIM_MASTERSLAVEMODE_DISABLE;
  if (HAL_TIMEx_MasterConfigSynchronization(&htim1, &sMasterConfig) != HAL_OK)
  {
    Error_Handler();
  }
  sConfigOC.OCMode = TIM_OCMODE_PWM1;
  sConfigOC.Pulse = 0;
  sConfigOC.OCPolarity = TIM_OCPOLARITY_HIGH;
  sConfigOC.OCNPolarity = TIM_OCNPOLARITY_HIGH;
  sConfigOC.OCFastMode = TIM_OCFAST_DISABLE;
  sConfigOC.OCIdleState = TIM_OCIDLESTATE_RESET;
  sConfigOC.OCNIdleState = TIM_OCNIDLESTATE_RESET;
  if (HAL_TIM_PWM_ConfigChannel(&htim1, &sConfigOC, TIM_CHANNEL_1) != HAL_OK)
  {
    Error_Handler();
  }
  if (HAL_TIM_PWM_ConfigChannel(&htim1, &sConfigOC, TIM_CHANNEL_2) != HAL_OK)
  {
    Error_Handler();
  }
  if (HAL_TIM_PWM_ConfigChannel(&htim1, &sConfigOC, TIM_CHANNEL_3) != HAL_OK)
  {
    Error_Handler();
  }
  sBreakDeadTimeConfig.OffStateRunMode = TIM_OSSR_DISABLE;
  sBreakDeadTimeConfig.OffStateIDLEMode = TIM_OSSI_DISABLE;
  sBreakDeadTimeConfig.LockLevel = TIM_LOCKLEVEL_OFF;
  sBreakDeadTimeConfig.DeadTime = 150;
  sBreakDeadTimeConfig.BreakState = TIM_BREAK_DISABLE;
  sBreakDeadTimeConfig.BreakPolarity = TIM_BREAKPOLARITY_HIGH;
  sBreakDeadTimeConfig.BreakFilter = 0;
  sBreakDeadTimeConfig.BreakAFMode = TIM_BREAK_AFMODE_INPUT;
  sBreakDeadTimeConfig.Break2State = TIM_BREAK2_DISABLE;
  sBreakDeadTimeConfig.Break2Polarity = TIM_BREAK2POLARITY_HIGH;
  sBreakDeadTimeConfig.Break2Filter = 0;
  sBreakDeadTimeConfig.Break2AFMode = TIM_BREAK_AFMODE_INPUT;
  sBreakDeadTimeConfig.AutomaticOutput = TIM_AUTOMATICOUTPUT_DISABLE;
  if (HAL_TIMEx_ConfigBreakDeadTime(&htim1, &sBreakDeadTimeConfig) != HAL_OK)
  {
    Error_Handler();
  }
  HAL_TIM_MspPostInit(&htim1);

}

static void MX_TIM3_Init(void)
{

  TIM_Encoder_InitTypeDef sConfig = {0};
  TIM_MasterConfigTypeDef sMasterConfig = {0};

  htim3.Instance = TIM3;
  htim3.Init.Prescaler = 0;
  htim3.Init.CounterMode = TIM_COUNTERMODE_UP;
  htim3.Init.Period = 65535;
  htim3.Init.ClockDivision = TIM_CLOCKDIVISION_DIV1;
  htim3.Init.AutoReloadPreload = TIM_AUTORELOAD_PRELOAD_DISABLE;
  sConfig.EncoderMode = TIM_ENCODERMODE_TI1;
  sConfig.IC1Polarity = TIM_ICPOLARITY_RISING;
  sConfig.IC1Selection = TIM_ICSELECTION_DIRECTTI;
  sConfig.IC1Prescaler = TIM_ICPSC_DIV1;
  sConfig.IC1Filter = 0;
  sConfig.IC2Polarity = TIM_ICPOLARITY_RISING;
  sConfig.IC2Selection = TIM_ICSELECTION_DIRECTTI;
  sConfig.IC2Prescaler = TIM_ICPSC_DIV1;
  sConfig.IC2Filter = 0;
  if (HAL_TIM_Encoder_Init(&htim3, &sConfig) != HAL_OK)
  {
    Error_Handler();
  }
  sMasterConfig.MasterOutputTrigger = TIM_TRGO_RESET;
  sMasterConfig.MasterSlaveMode = TIM_MASTERSLAVEMODE_DISABLE;
  if (HAL_TIMEx_MasterConfigSynchronization(&htim3, &sMasterConfig) != HAL_OK)
  {
    Error_Handler();
  }

}

static void MX_TIM6_Init(void)
{

  TIM_MasterConfigTypeDef sMasterConfig = {0};

  htim6.Instance = TIM6;
  htim6.Init.Prescaler = 0;
  htim6.Init.CounterMode = TIM_COUNTERMODE_UP;
  htim6.Init.Period = 1699;
  htim6.Init.AutoReloadPreload = TIM_AUTORELOAD_PRELOAD_DISABLE;
  if (HAL_TIM_Base_Init(&htim6) != HAL_OK)
  {
    Error_Handler();
  }
  sMasterConfig.MasterOutputTrigger = TIM_TRGO_UPDATE;
  sMasterConfig.MasterSlaveMode = TIM_MASTERSLAVEMODE_DISABLE;
  if (HAL_TIMEx_MasterConfigSynchronization(&htim6, &sMasterConfig) != HAL_OK)
  {
    Error_Handler();
  }

}

static void MX_USART2_UART_Init(void)
{

  huart2.Instance = USART2;
  huart2.Init.BaudRate = 115200;
  huart2.Init.WordLength = UART_WORDLENGTH_8B;
  huart2.Init.StopBits = UART_STOPBITS_1;
  huart2.Init.Parity = UART_PARITY_NONE;
  huart2.Init.Mode = UART_MODE_TX_RX;
  huart2.Init.HwFlowCtl = UART_HWCONTROL_NONE;
  huart2.Init.OverSampling = UART_OVERSAMPLING_16;
  huart2.Init.OneBitSampling = UART_ONE_BIT_SAMPLE_DISABLE;
  huart2.Init.ClockPrescaler = UART_PRESCALER_DIV1;
  huart2.AdvancedInit.AdvFeatureInit = UART_ADVFEATURE_NO_INIT;
  if (HAL_UART_Init(&huart2) != HAL_OK)
  {
    Error_Handler();
  }
  if (HAL_UARTEx_SetTxFifoThreshold(&huart2, UART_TXFIFO_THRESHOLD_1_8) != HAL_OK)
  {
    Error_Handler();
  }
  if (HAL_UARTEx_SetRxFifoThreshold(&huart2, UART_RXFIFO_THRESHOLD_1_8) != HAL_OK)
  {
    Error_Handler();
  }
  if (HAL_UARTEx_DisableFifoMode(&huart2) != HAL_OK)
  {
    Error_Handler();
  }

}

static void MX_DMA_Init(void)
{

  /* DMA controller clock enable */
  __HAL_RCC_DMAMUX1_CLK_ENABLE();
  __HAL_RCC_DMA1_CLK_ENABLE();

  /* DMA interrupt init */
  /* DMA1_Channel1_IRQn interrupt configuration */
  HAL_NVIC_SetPriority(DMA1_Channel1_IRQn, 0, 0);
  HAL_NVIC_EnableIRQ(DMA1_Channel1_IRQn);

}

static void MX_GPIO_Init(void)
{
  GPIO_InitTypeDef GPIO_InitStruct = {0};

  /* GPIO Ports Clock Enable */
  __HAL_RCC_GPIOF_CLK_ENABLE();
  __HAL_RCC_GPIOC_CLK_ENABLE();
  __HAL_RCC_GPIOA_CLK_ENABLE();
  __HAL_RCC_GPIOB_CLK_ENABLE();

  /*Configure GPIO pin Output Level */
  HAL_GPIO_WritePin(BEMF_Gate_GPIO_Port, BEMF_Gate_Pin, GPIO_PIN_RESET);

  /*Configure GPIO pins : Hall_A_Pin Hall_B_Pin Hall_C_Pin */
  GPIO_InitStruct.Pin = Hall_A_Pin|Hall_B_Pin|Hall_C_Pin;
  GPIO_InitStruct.Mode = GPIO_MODE_IT_RISING_FALLING;
  GPIO_InitStruct.Pull = GPIO_PULLUP;
  HAL_GPIO_Init(GPIOA, &GPIO_InitStruct);

  /*Configure GPIO pin : BEMF_Gate_Pin */
  GPIO_InitStruct.Pin = BEMF_Gate_Pin;
  GPIO_InitStruct.Mode = GPIO_MODE_OUTPUT_PP;
  GPIO_InitStruct.Pull = GPIO_PULLDOWN;
  GPIO_InitStruct.Speed = GPIO_SPEED_FREQ_LOW;
  HAL_GPIO_Init(BEMF_Gate_GPIO_Port, &GPIO_InitStruct);

  /*Configure GPIO pin : VBUS_sense_Pin */
  GPIO_InitStruct.Pin = VBUS_sense_Pin;
  GPIO_InitStruct.Mode = GPIO_MODE_INPUT;
  GPIO_InitStruct.Pull = GPIO_NOPULL;
  HAL_GPIO_Init(VBUS_sense_GPIO_Port, &GPIO_InitStruct);

  /*Configure GPIO pin : Mode_Sel_Pin */
  GPIO_InitStruct.Pin = Mode_Sel_Pin;
  GPIO_InitStruct.Mode = GPIO_MODE_INPUT;
  GPIO_InitStruct.Pull = GPIO_PULLDOWN;
  HAL_GPIO_Init(Mode_Sel_GPIO_Port, &GPIO_InitStruct);

  /* EXTI interrupt init*/
  HAL_NVIC_SetPriority(EXTI0_IRQn, 0, 0);
  HAL_NVIC_EnableIRQ(EXTI0_IRQn);

  HAL_NVIC_SetPriority(EXTI1_IRQn, 0, 0);
  HAL_NVIC_EnableIRQ(EXTI1_IRQn);

  HAL_NVIC_SetPriority(EXTI2_IRQn, 0, 0);
  HAL_NVIC_EnableIRQ(EXTI2_IRQn);

}

/* USER CODE BEGIN 4 */
/**
 * @brief GPIO EXTI Callback 함수
 *
 * @note 홀센서 핀의 상태를 읽어 hallBit에 저장
 */
void HAL_GPIO_EXTI_Callback(uint16_t GPIO_Pin) {
    if ((GPIO_Pin == Hall_A_Pin) || (GPIO_Pin == Hall_B_Pin) || (GPIO_Pin == Hall_C_Pin)) {
        hallbit = (HAL_GPIO_ReadPin(Hall_A_GPIO_Port, Hall_A_Pin) << 2) |
                      (HAL_GPIO_ReadPin(Hall_B_GPIO_Port, Hall_B_Pin) << 1) |
                      (HAL_GPIO_ReadPin(Hall_C_GPIO_Port, Hall_C_Pin) << 0);
        prevPosition = position;
    }

    // 위치 업데이트
    position = hallToSector[hallbit];

    // position이 변하지 않았으면 속도 계산 생략 (동일 섹터에서 여러 인터럽트 방지)
    if (position == prevPosition || position == 0xFF) {
        return; // 유효하지 않은 위치거나 변화 없음
    }

    // 방향 감지
    if (((prevPosition + 1) % 6) == position) {
        rotationDirection = 1; // CW
    }
    else if (((prevPosition + 5) % 6) == position) {
        rotationDirection = -1; // CCW
    }

    // 속도 계산 (인터럽트에서 직접 계산)
    uint32_t currentTime = HAL_GetTick();
    uint32_t timeDiff = currentTime - lastPositionUpdateTime;

    // 최소 시간 간격 체크 (2ms 미만은 노이즈로 간주)
    if (timeDiff >= 2 && lastPositionUpdateTime != 0) {
        speedRPM = (60.0 * 1000.0) / (timeDiff * 24.0); // 6섹터*4극쌍
        if (rotationDirection == -1) {
            speedRPM = -speedRPM; // CCW 방향이면 음수
        }
        lastPositionUpdateTime = currentTime;
    }
    else if (lastPositionUpdateTime == 0) {
        // 첫 번째 인터럽트: 시간만 기록
        lastPositionUpdateTime = currentTime;
        speedRPM = 0.0;
    }
    // timeDiff < 2인 경우: 노이즈로 간주하고 속도 계산 안 함

    // 디버그 변수 업데이트
    debugVar1++;
}
/* USER CODE END 4 */

void Error_Handler(void)
{
  __disable_irq();
  while (1)
  {
  }
}
